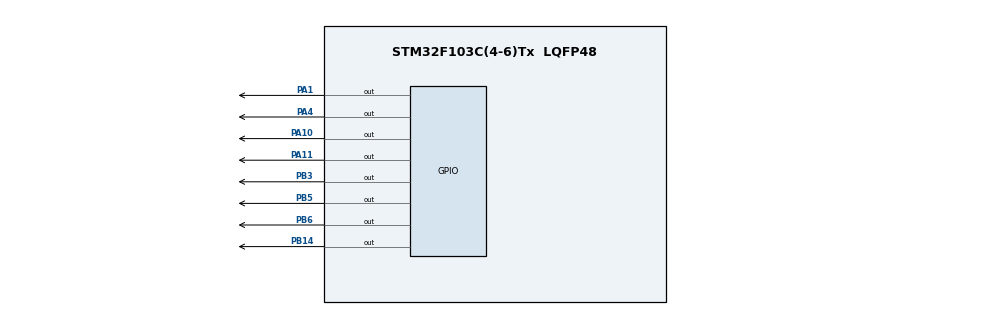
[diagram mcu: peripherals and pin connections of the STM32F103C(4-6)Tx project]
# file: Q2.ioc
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Mcu.Family=STM32F1
ProjectManager.StackSize=0x400
PA13.Signal=SYS_JTMS-SWDIO
ProjectManager.TargetToolchain=STM32CubeIDE
PB6.Signal=GPIO_Output
PA1.Signal=GPIO_Output
PB14.Signal=GPIO_Output
board=custom
RCC.APB2Freq_Value=8000000
PA14.Mode=Serial_Wire
PA13.Mode=Serial_Wire
Mcu.Name=STM32F103C(4-6)Tx
PB3.Signal=GPIO_Output
PA4.Signal=GPIO_Output
Mcu.Package=LQFP48
PB5.Signal=GPIO_Output
PA11.Signal=GPIO_Output
PA10.Signal=GPIO_Output
PA14.Signal=SYS_JTCK-SWCLK
ProjectManager.HeapSize=0x200
NVIC.PriorityGroup=NVIC_PRIORITYGROUP_4
RCC.APB1Freq_Value=8000000

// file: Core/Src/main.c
/* USER CODE BEGIN Header */
/**
  ******************************************************************************
  * @file           : main.c
  * @brief          : Main program body
  ******************************************************************************
  * @attention
  *
  * <h2><center>&copy; Copyright (c) 2021 STMicroelectronics.
  * All rights reserved.</center></h2>
  *
  * This software component is licensed by ST under BSD 3-Clause license,
  * the "License"; You may not use this file except in compliance with the
  * License. You may obtain a copy of the License at:
  *                        opensource.org/licenses/BSD-3-Clause
  *
  ******************************************************************************
  */
/* USER CODE END Header */
#include "main.h"

void SystemClock_Config(void);
static void MX_GPIO_Init(void);
/* USER CODE BEGIN PFP */
void exibe_display();
/* USER CODE END PFP */

int main(void)
{
  /* USER CODE BEGIN 1 */
int n=0, t=600;
  /* USER CODE END 1 */

  /* MCU Configuration--------------------------------------------------------*/

  /* Reset of all peripherals, Initializes the Flash interface and the Systick. */
  HAL_Init();

  /* Configure the system clock */
  SystemClock_Config();

  /* Initialize all configured peripherals */
  MX_GPIO_Init();

  /* Infinite loop */
  while (1)
  {

    /* USER CODE BEGIN 3 */

	  if (n==0) {
		  GPIOB -> ODR = (1<<6); // 0
		  HAL_Delay(t);
		  n++;
	  }
	  else if(n==1){
		  GPIOA-> ODR = (1<<1)+(1<<11); //1
		  GPIOB -> ODR = (1<<3)+(1<<5)+(1<<6);
		  HAL_Delay(t);
		  n++;
	  }
	  else if (n==2){
		  GPIOA -> ODR = (1<<10); //2
		  GPIOB -> ODR = (1<<5);
		  HAL_Delay(t);
		  n++;
	  }

	  else if (n==3){
		  GPIOA -> ODR = (1<<26); //3
		  GPIOB -> ODR = (1<<5)+(1<<3);
		  HAL_Delay(t);
		  n++;
	  }
	  if(n == 4){
	  if((GPIOB->IDR &(1<<14)) == 0) n = 0;}

	  if (n==4){
		  GPIOA->ODR = (1<<1) + (1<<11); //4
		  GPIOB->ODR = (1<<3);
		  HAL_Delay(t);
		  n++;
	  }
	  else if (n==5){
		  GPIOA->ODR = (1<<4); //5
		      GPIOB->ODR = (1<<3);
		      HAL_Delay(t);
	  		  n++;
	  }
	  else if (n==6){
		  GPIOB->ODR = (1<<19); //6
		      HAL_Delay(t);
		  n++;
	  }
	  else if (n==7){
		  GPIOA->ODR = (1<<11);
		  	GPIOB->ODR = (1<<3) + (1<<5) + (1<<6);
		  	HAL_Delay(t);
		  n++;
	  }
	  else if (n==8){
		  GPIOA -> ODR = (1<<27); //8
		  	GPIOB -> ODR = (1<<19)+(1<<21)+(1<<22);
		  	HAL_Delay(t);
	  	  n++;
	  }
	  else if (n==9){
		  GPIOB -> ODR = (1<<3); //9
		  	HAL_Delay(t);
	  	  n=0;
	  }

  }
  /* USER CODE END 3 */
}

void SystemClock_Config(void)
{
  RCC_OscInitTypeDef RCC_OscInitStruct = {0};
  RCC_ClkInitTypeDef RCC_ClkInitStruct = {0};

  /** Initializes the RCC Oscillators according to the specified parameters
  * in the RCC_OscInitTypeDef structure.
  */
  RCC_OscInitStruct.OscillatorType = RCC_OSCILLATORTYPE_HSI;
  RCC_OscInitStruct.HSIState = RCC_HSI_ON;
  RCC_OscInitStruct.HSICalibrationValue = RCC_HSICALIBRATION_DEFAULT;
  RCC_OscInitStruct.PLL.PLLState = RCC_PLL_NONE;
  if (HAL_RCC_OscConfig(&RCC_OscInitStruct) != HAL_OK)
  {
    Error_Handler();
  }
  /** Initializes the CPU, AHB and APB buses clocks
  */
  RCC_ClkInitStruct.ClockType = RCC_CLOCKTYPE_HCLK|RCC_CLOCKTYPE_SYSCLK
                              |RCC_CLOCKTYPE_PCLK1|RCC_CLOCKTYPE_PCLK2;
  RCC_ClkInitStruct.SYSCLKSource = RCC_SYSCLKSOURCE_HSI;
  RCC_ClkInitStruct.AHBCLKDivider = RCC_SYSCLK_DIV1;
  RCC_ClkInitStruct.APB1CLKDivider = RCC_HCLK_DIV1;
  RCC_ClkInitStruct.APB2CLKDivider = RCC_HCLK_DIV1;

  if (HAL_RCC_ClockConfig(&RCC_ClkInitStruct, FLASH_LATENCY_0) != HAL_OK)
  {
    Error_Handler();
  }
}

static void MX_GPIO_Init(void)
{
  GPIO_InitTypeDef GPIO_InitStruct = {0};

  /* GPIO Ports Clock Enable */
  __HAL_RCC_GPIOA_CLK_ENABLE();
  __HAL_RCC_GPIOB_CLK_ENABLE();

  /*Configure GPIO pin Output Level */
  HAL_GPIO_WritePin(GPIOA, GPIO_PIN_1|GPIO_PIN_4|GPIO_PIN_10|GPIO_PIN_11, GPIO_PIN_RESET);

  /*Configure GPIO pin Output Level */
  HAL_GPIO_WritePin(GPIOB, GPIO_PIN_3|GPIO_PIN_5|GPIO_PIN_6, GPIO_PIN_RESET);

  /*Configure GPIO pins : PA1 PA4 PA10 PA11 */
  GPIO_InitStruct.Pin = GPIO_PIN_1|GPIO_PIN_4|GPIO_PIN_10|GPIO_PIN_11;
  GPIO_InitStruct.Mode = GPIO_MODE_OUTPUT_PP;
  GPIO_InitStruct.Pull = GPIO_NOPULL;
  GPIO_InitStruct.Speed = GPIO_SPEED_FREQ_LOW;
  HAL_GPIO_Init(GPIOA, &GPIO_InitStruct);

  /*Configure GPIO pin : PB14 */
  GPIO_InitStruct.Pin = GPIO_PIN_14;
  GPIO_InitStruct.Mode = GPIO_MODE_INPUT;
  GPIO_InitStruct.Pull = GPIO_NOPULL;
  HAL_GPIO_Init(GPIOB, &GPIO_InitStruct);

  /*Configure GPIO pins : PB3 PB5 PB6 */
  GPIO_InitStruct.Pin = GPIO_PIN_3|GPIO_PIN_5|GPIO_PIN_6;
  GPIO_InitStruct.Mode = GPIO_MODE_OUTPUT_PP;
  GPIO_InitStruct.Pull = GPIO_NOPULL;
  GPIO_InitStruct.Speed = GPIO_SPEED_FREQ_LOW;
  HAL_GPIO_Init(GPIOB, &GPIO_InitStruct);

}

void Error_Handler(void)
{
  __disable_irq();
  while (1)
  {
  }
}

/************************ (C) COPYRIGHT STMicroelectronics *****END OF FILE****/
